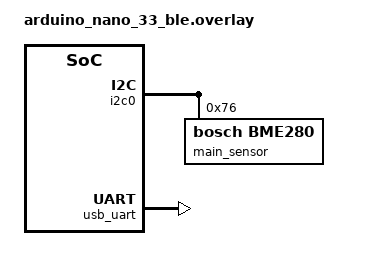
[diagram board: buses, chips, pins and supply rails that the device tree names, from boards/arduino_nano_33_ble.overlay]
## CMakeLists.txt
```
cmake_minimum_required(VERSION 3.20)
find_package(Zephyr REQUIRED HINTS $ENV{ZEPHYR_BASE})

project(app LANGUAGES C)

target_sources(app PRIVATE src/ble.c src/sensor.c src/timer.c)
```

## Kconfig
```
source "Kconfig.zephyr"

menu "Application Options"

module = APP
module-str = App
source "subsys/logging/Kconfig.template.log_config"

config APP_SENSOR_INTERVAL
	int "Environment Sensor Read Interval"
	default 5
	help
	  The interval between subsequent reads from the environment
	  sensor (in seconds).

config APP_TIMER_INIT_PRIORITY
	int "Timer init priority"
	default 100
	help
	  "Timer initialization priority"


menu "Sensor Thread Options"

config APP_SENSOR_STACK_SIZE
	int "Thread stack size"
	default 1024
	help
	  "Sensor thread stack size (in bytes)."

config APP_SENSOR_THREAD_PRIORITY
	int "Thread priority"
	default 8
	help
	  "Sensor thread priority."

endmenu # Sensor Thread Options

menu "Bluetooth Thread Options"

config APP_BLE_STACK_SIZE
	int "Thread stack size"
	default 2048
	help
	  "Bluetooth thread stack size (in bytes)."

config APP_BLE_THREAD_PRIORITY
	int "Thread priority"
	default 9
	help
	  "Bluetooth thread priority."

endmenu # Bluetooth Thread Options

endmenu # Application Options
```

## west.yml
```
manifest:
  remotes:
    - name: zephyrproject-rtos
      url-base: https://github.com/zephyrproject-rtos

  projects:
    - name: zephyr
      remote: zephyrproject-rtos
      revision: v4.3.0
      import:
        name-allowlist:
          - cmsis_6
          - hal_espressif
          - hal_nordic
          - mbedtls
```

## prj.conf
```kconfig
CONFIG_SERIAL=y
CONFIG_GPIO=y
CONFIG_LOG=y
CONFIG_CONSOLE=y
CONFIG_BT_DIS_MANUF_NAME_STR="MRos"
CONFIG_UART_CONSOLE=y
CONFIG_SENSOR=y
CONFIG_SENSOR_ASYNC_API=y
CONFIG_MBEDTLS=y
CONFIG_BT=y
CONFIG_BT_PERIPHERAL=y
CONFIG_BT_HCI_ERR_TO_STR=y
CONFIG_BT_SMP=y
CONFIG_BT_DIS=y
# CONFIG_BT_DIS_PNP is not set
CONFIG_BT_DEVICE_NAME="Zephyr Environment Sensor"
CONFIG_BT_DEVICE_APPEARANCE=1362
CONFIG_BT_LOG_LEVEL_WRN=y
CONFIG_LOG_INFO_COLOR_GREEN=y
CONFIG_LOG_DBG_COLOR_BLUE=y
CONFIG_ZBUS=y
CONFIG_ZBUS_MSG_SUBSCRIBER=y
CONFIG_STD_C23=y
CONFIG_COMPILER_WARNINGS_AS_ERRORS=y
```

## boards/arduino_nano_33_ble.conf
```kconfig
CONFIG_UART_LINE_CTRL=y
CONFIG_USB_DEVICE_STACK_NEXT=y
CONFIG_USBD_CDC_ACM_LOG_LEVEL_OFF=y
CONFIG_CDC_ACM_SERIAL_INITIALIZE_AT_BOOT=y
```

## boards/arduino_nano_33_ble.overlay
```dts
/ {
	chosen {
		zephyr,console = &usb_uart;
	};

	aliases {
		env-sensor = &main_sensor;
	};
};

&i2c0 {
	status = "okay";

	main_sensor: bme280@76 {
		compatible = "bosch,bme280";
		reg = <0x76>;
	};
};

&zephyr_udc0 {
	usb_uart: cdc_acm_uart0 {
		compatible = "zephyr,cdc-acm-uart";
		label = "Zephyr USB CDC-ACM";
		status = "okay";
	};
};

&i2c1 {
	status = "disabled";
};

&lsm9ds1 {
	status = "disabled";
};

&lsm9ds1_mag {
	status = "disabled";
};
```

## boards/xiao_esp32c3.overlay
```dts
/ {
	aliases {
		env-sensor = &main_sensor;
	};
};

&i2c0 {
	main_sensor: bme280@76 {
		compatible = "bosch,bme280";
		reg = <0x76>;
	};
};

&spi2 {
	status = "disabled";
};

&twai {
	status = "disabled";
};

&uart0 {
	status = "disabled";
};

&wifi {
	status = "disabled";
};
```

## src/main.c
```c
#include <zephyr/kernel.h>

int main(void)
{
	printk("Hello Zephyr\n");
	return 0;
}
```

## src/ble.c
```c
#include "zbus.h"

#include <stddef.h>
#include <stdint.h>
#include <stdio.h>
#include <stdlib.h>
#include <string.h>

#include <zephyr/bluetooth/addr.h>
#include <zephyr/bluetooth/bluetooth.h>
#include <zephyr/bluetooth/byteorder.h>
#include <zephyr/bluetooth/conn.h>
#include <zephyr/bluetooth/gap.h>
#include <zephyr/bluetooth/gatt.h>
#include <zephyr/bluetooth/hci.h>
#include <zephyr/bluetooth/uuid.h>
#include <zephyr/dsp/print_format.h>
#include <zephyr/kernel.h>
#include <zephyr/logging/log.h>
#include <zephyr/sys/byteorder.h>
#include <zephyr/sys/util.h>
#include <zephyr/toolchain.h>
#include <zephyr/zbus/zbus.h>

#include <sys/cdefs.h>
#include <sys/errno.h>
#include <sys/types.h>

LOG_MODULE_REGISTER(ble, CONFIG_APP_LOG_LEVEL);

typedef uint8_t uint24_t[3];

#define SENSOR_TEMP_NAME  "Temperature Sensor"
#define SENSOR_PRESS_NAME "Pressure Sensor"
#define SENSOR_HUMID_NAME "Humidity Sensor"

/* ESS Measurement Descriptor
 * https://www.bluetooth.com/specifications/specs/html/?src=ESS_v1.0.1/out/en/index-en.html#UUID-2407bbfc-b4c8-2b7c-7bda-feb4d3cbcfb5
 */
#define ES_MEASUREMENT_FLAGS_EMPTY            0x00
#define ES_MEASUREMENT_SAMPLING_INSTANTANEOUS 0x01
#define ES_MEASUREMENT_PERIOD_UNSPECIFIED     0x00
#define ES_MEASUREMENT_APP_AIR                0x01
#define ES_MEASUREMENT_UNCERTAINTY_UNKNOWN    0xFF

/* https://www.bluetooth.com/specifications/specs/html/?src=ESS_v1.0.1/out/en/index-en.html#UUID-2407bbfc-b4c8-2b7c-7bda-feb4d3cbcfb5_Table_3.3
 */
struct bt_es_measurement_desc {
	uint16_t flags;
	uint8_t sampling_func;
	uint24_t meas_period;
	uint24_t update_interval;
	uint8_t application;
	uint8_t meas_uncertainty;
} __packed;

/* ES Trigger Setting Descriptor
 * https://www.bluetooth.com/specifications/specs/html/?src=ESS_v1.0.1/out/en/index-en.html#UUID-0ad8b9f9-19ad-daf7-c103-6addaa3d4154
 */
#define ES_TRIGGER_INTERVAL_FIXED 0x01

struct bt_es_trigger_setting_desc {
	uint8_t cond;
	uint24_t fixed;
} __packed;

/* https://btprodspecificationrefs.blob.core.windows.net/gatt-specification-supplement/GATT_Specification_Supplement.pdf
 */
struct bt_es_sensor_data_char {
	// degrees Celsius with resolution of 0.01
	int16_t temp;
	// pascals with resolution of 0.1
	uint32_t press;
	// percent with resolution of 0.01
	uint16_t humid;
};

// https://btprodspecificationrefs.blob.core.windows.net/gatt-specification-supplement/GATT_Specification_Supplement.pdf#4.1.3
// -40 - +85 C
const static int16_t bt_es_sensor_temp_range[2] = {sys_cpu_to_le16(-4000), sys_cpu_to_le16(8500)};

// 300 - 1100 hPa
const static uint32_t bt_es_sensor_press_range[2] = {sys_cpu_to_le32(300000),
						     sys_cpu_to_le32(1100000)};

const static struct bt_es_measurement_desc sens_desc = {
	.flags = sys_cpu_to_le16(ES_MEASUREMENT_FLAGS_EMPTY),
	.sampling_func = ES_MEASUREMENT_SAMPLING_INSTANTANEOUS,
	.meas_period = {sys_cpu_to_le24(ES_MEASUREMENT_PERIOD_UNSPECIFIED)},
	.update_interval = {sys_cpu_to_le24(CONFIG_APP_SENSOR_INTERVAL)},
	.application = ES_MEASUREMENT_APP_AIR,
	.meas_uncertainty = ES_MEASUREMENT_UNCERTAINTY_UNKNOWN,
};

const static struct bt_es_trigger_setting_desc sens_trig = {
	.cond = ES_TRIGGER_INTERVAL_FIXED, .fixed = {sys_cpu_to_le24(CONFIG_APP_SENSOR_INTERVAL)}};

static K_MUTEX_DEFINE(env_data_mtx);
static struct bt_es_sensor_data_char env_data;

static ssize_t read_es_measurement(struct bt_conn *conn, const struct bt_gatt_attr *attr, void *buf,
				   uint16_t len, uint16_t offset)
{
	LOG_DBG("read ES Measurement");
	return bt_gatt_attr_read(conn, attr, buf, len, offset, &sens_desc, sizeof(sens_desc));
}

static size_t bt_es_trigger_setting_size(const struct bt_es_trigger_setting_desc *desc)
{
	return sizeof(desc->cond) + sizeof(desc->fixed);
}

static ssize_t read_es_trigger_setting(struct bt_conn *conn, const struct bt_gatt_attr *attr,
				       void *buf, uint16_t len, uint16_t offset)
{
	LOG_DBG("read ES Trigger Setting");
	return bt_gatt_attr_read(conn, attr, buf, len, offset, &sens_trig,
				 bt_es_trigger_setting_size(&sens_trig));
}

static ssize_t read_valid_range_temp(struct bt_conn *conn, const struct bt_gatt_attr *attr,
				     void *buf, uint16_t len, uint16_t offset)
{
	LOG_DBG("read temperature Valid Range");

	return bt_gatt_attr_read(conn, attr, buf, len, offset, &bt_es_sensor_temp_range,
				 sizeof(bt_es_sensor_temp_range));
}

static ssize_t read_valid_range_press(struct bt_conn *conn, const struct bt_gatt_attr *attr,
				      void *buf, uint16_t len, uint16_t offset)
{
	LOG_DBG("read pressure Valid Range");

	return bt_gatt_attr_read(conn, attr, buf, len, offset, &bt_es_sensor_press_range,
				 sizeof(bt_es_sensor_press_range));
}

static ssize_t read_value_temp(struct bt_conn *conn, const struct bt_gatt_attr *attr, void *buf,
			       uint16_t len, uint16_t offset)
{
	ssize_t ret;

	LOG_DBG("read temperature value");
	k_mutex_lock(&env_data_mtx, K_FOREVER);

	ret = bt_gatt_attr_read(conn, attr, buf, len, offset, &env_data.temp,
				sizeof(env_data.temp));

	k_mutex_unlock(&env_data_mtx);

	return ret;
}

static ssize_t read_value_press(struct bt_conn *conn, const struct bt_gatt_attr *attr, void *buf,
				uint16_t len, uint16_t offset)
{
	ssize_t ret;

	LOG_DBG("read pressure value");
	k_mutex_lock(&env_data_mtx, K_FOREVER);

	ret = bt_gatt_attr_read(conn, attr, buf, len, offset, &env_data.press,
				sizeof(env_data.press));

	k_mutex_unlock(&env_data_mtx);

	return ret;
}

static ssize_t read_value_humid(struct bt_conn *conn, const struct bt_gatt_attr *attr, void *buf,
				uint16_t len, uint16_t offset)
{
	ssize_t ret;

	LOG_DBG("read humidity value");
	k_mutex_lock(&env_data_mtx, K_FOREVER);

	ret = bt_gatt_attr_read(conn, attr, buf, len, offset, &env_data.humid,
				sizeof(env_data.humid));

	k_mutex_unlock(&env_data_mtx);

	return ret;
}

// clang-format off
BT_GATT_SERVICE_DEFINE(ess_svc,
	BT_GATT_PRIMARY_SERVICE(BT_UUID_ESS),

	// Temperature
	BT_GATT_CHARACTERISTIC(BT_UUID_TEMPERATURE,
						   BT_GATT_CHRC_READ | BT_GATT_CHRC_NOTIFY,
						   BT_GATT_PERM_READ,
						   read_value_temp, NULL, NULL),
	BT_GATT_DESCRIPTOR(BT_UUID_ES_MEASUREMENT, BT_GATT_PERM_READ,
					   read_es_measurement, NULL, NULL),
	BT_GATT_DESCRIPTOR(BT_UUID_ES_TRIGGER_SETTING, BT_GATT_PERM_READ,
					   read_es_trigger_setting, NULL, NULL),
	BT_GATT_CUD(SENSOR_TEMP_NAME, BT_GATT_PERM_READ),
	BT_GATT_DESCRIPTOR(BT_UUID_VALID_RANGE, BT_GATT_PERM_READ,
					   read_valid_range_temp, NULL, NULL),
	BT_GATT_CCC(NULL, BT_GATT_PERM_READ | BT_GATT_PERM_WRITE),

	// Pressure
	BT_GATT_CHARACTERISTIC(BT_UUID_PRESSURE,
						   BT_GATT_CHRC_READ | BT_GATT_CHRC_NOTIFY,
						   BT_GATT_PERM_READ,
						   read_value_press, NULL, NULL),
	BT_GATT_DESCRIPTOR(BT_UUID_ES_MEASUREMENT, BT_GATT_PERM_READ,
					   read_es_measurement, NULL, NULL),
	BT_GATT_DESCRIPTOR(BT_UUID_ES_TRIGGER_SETTING, BT_GATT_PERM_READ,
					   read_es_trigger_setting, NULL, NULL),
	BT_GATT_CUD(SENSOR_PRESS_NAME, BT_GATT_PERM_READ),
	BT_GATT_DESCRIPTOR(BT_UUID_VALID_RANGE, BT_GATT_PERM_READ,
					   read_valid_range_press, NULL, NULL),
	BT_GATT_CCC(NULL, BT_GATT_PERM_READ | BT_GATT_PERM_WRITE),

	// Humididy
	BT_GATT_CHARACTERISTIC(BT_UUID_HUMIDITY,
						   BT_GATT_CHRC_READ | BT_GATT_CHRC_NOTIFY,
						   BT_GATT_PERM_READ,
						   read_value_humid, NULL, NULL),
	BT_GATT_DESCRIPTOR(BT_UUID_ES_MEASUREMENT, BT_GATT_PERM_READ,
					   read_es_measurement, NULL, NULL),
	BT_GATT_DESCRIPTOR(BT_UUID_ES_TRIGGER_SETTING, BT_GATT_PERM_READ,
					   read_es_trigger_setting, NULL, NULL),
	BT_GATT_CUD(SENSOR_HUMID_NAME, BT_GATT_PERM_READ),
	BT_GATT_CCC(NULL, BT_GATT_PERM_READ | BT_GATT_PERM_WRITE),
);

static const struct bt_data ad[] = {
	BT_DATA_BYTES(BT_DATA_FLAGS, (BT_LE_AD_GENERAL | BT_LE_AD_NO_BREDR)),
	BT_DATA_BYTES(BT_DATA_GAP_APPEARANCE,
				  BT_BYTES_LIST_LE16(CONFIG_BT_DEVICE_APPEARANCE)),
	BT_DATA_BYTES(BT_DATA_UUID16_ALL,
				  BT_UUID_16_ENCODE(BT_UUID_ESS_VAL)),
};

static const struct bt_data sd[] = {
	BT_DATA(BT_DATA_NAME_COMPLETE,
			CONFIG_BT_DEVICE_NAME,
			sizeof(CONFIG_BT_DEVICE_NAME) - 1),
};
// clang-format on

static void connected(struct bt_conn *conn, uint8_t err)
{
	if (err) {
		LOG_ERR("connection failed (error: %d - %s)", err, bt_hci_err_to_str(err));
	} else {
		LOG_INF("connected");
	}
}

static void disconnected(struct bt_conn *conn, uint8_t reason)
{
	LOG_INF("disconnected - %s", bt_hci_err_to_str(reason));
}

static void recycled(void)
{
	int rc;
	LOG_DBG("connection recycled");

	rc = bt_le_adv_start(BT_LE_ADV_CONN_FAST_1, ad, ARRAY_SIZE(ad), sd, ARRAY_SIZE(sd));
	if (rc) {
		LOG_ERR("advertising failed to start (error: %d)", rc);
	}
}

BT_CONN_CB_DEFINE(conn_callbacks) = {
	.connected = connected,
	.disconnected = disconnected,
	.recycled = recycled,
};

static void env_data_update(const struct env_msg *msg)
{
	char buf[8];
	k_mutex_lock(&env_data_mtx, K_FOREVER);

	snprintf(buf, ARRAY_SIZE(buf), "%s%d%02d", PRIq_arg(msg->temp.value, 2, msg->temp.shift));
	env_data.temp = sys_cpu_to_le16(strtol(buf, NULL, 10));

	snprintf(buf, ARRAY_SIZE(buf), "%s%d%04d", PRIq_arg(msg->press.value, 4, msg->press.shift));
	env_data.press = sys_cpu_to_le32(strtoul(buf, NULL, 10));

	snprintf(buf, ARRAY_SIZE(buf), "%s%d%02d", PRIq_arg(msg->humid.value, 2, msg->humid.shift));
	env_data.humid = sys_cpu_to_le16(strtoul(buf, NULL, 10));

	k_mutex_unlock(&env_data_mtx);

	bt_gatt_notify(NULL, &ess_svc.attrs[2], &env_data.temp, sizeof(env_data.temp));
	bt_gatt_notify(NULL, &ess_svc.attrs[9], &env_data.press, sizeof(env_data.press));
	bt_gatt_notify(NULL, &ess_svc.attrs[16], &env_data.humid, sizeof(env_data.humid));
}

ZBUS_MSG_SUBSCRIBER_DEFINE(bluetooth_msg_subscriber);
ZBUS_CHAN_ADD_OBS(env_chan, bluetooth_msg_subscriber, 1);

static void bluetooth_thrd()
{
	const struct zbus_channel *chan;
	struct env_msg msg = {0};
	int rc;

	if ((rc = bt_enable(NULL))) {
		LOG_ERR("initialization failed (error: %d)", rc);
		return;
	}

	LOG_INF("initialized");

	rc = bt_le_adv_start(BT_LE_ADV_CONN_FAST_1, ad, ARRAY_SIZE(ad), sd, ARRAY_SIZE(sd));
	if (rc) {
		LOG_ERR("advertising failed to start (error: %d)", rc);
		return;
	}

	LOG_INF("advertising started");

	for (;;) {
		if ((rc = zbus_sub_wait_msg(&bluetooth_msg_subscriber, &chan, &msg, K_FOREVER))) {
			LOG_ERR("waiting for channel message failed (error: %d)", rc);
			continue;
		}

		env_data_update(&msg);
	}
}

K_THREAD_DEFINE(bluetooth_thrd_id, CONFIG_APP_BLE_STACK_SIZE, bluetooth_thrd, NULL, NULL, NULL,
		CONFIG_APP_BLE_THREAD_PRIORITY, 0, 0);
```

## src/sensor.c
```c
#include "zbus.h"

#include <stdint.h>

#include <zephyr/device.h>
#include <zephyr/devicetree.h>
#include <zephyr/drivers/sensor.h>
#include <zephyr/drivers/sensor_data_types.h>
#include <zephyr/dsp/print_format.h>
#include <zephyr/dsp/types.h>
#include <zephyr/kernel.h>
#include <zephyr/logging/log.h>
#include <zephyr/rtio/rtio.h>
#include <zephyr/sys/util.h>
#include <zephyr/zbus/zbus.h>

LOG_MODULE_REGISTER(sensor, CONFIG_APP_LOG_LEVEL);

#define SENSOR_DEV DT_ALIAS(env_sensor)

const static struct device *const dev = DEVICE_DT_GET(SENSOR_DEV);

#define SENS_CHAN(spec) ((struct sensor_chan_spec){spec})

#define SENS_CHAN_TEMP  SENS_CHAN(SENSOR_CHAN_AMBIENT_TEMP)
#define SENS_CHAN_HUMID SENS_CHAN(SENSOR_CHAN_HUMIDITY)
#define SENS_CHAN_PRESS SENS_CHAN(SENSOR_CHAN_PRESS)

/* clang-format off */
SENSOR_DT_READ_IODEV(iodev, SENSOR_DEV,
	SENS_CHAN_TEMP,
	SENS_CHAN_HUMID,
	SENS_CHAN_PRESS,
);
/* clang-format on */

RTIO_DEFINE(ctx, 1, 1);

ZBUS_SUBSCRIBER_DEFINE(env_subscriber, 1);
ZBUS_CHAN_ADD_OBS(timer_chan, env_subscriber, 0);

/* clang-format off */
ZBUS_CHAN_DEFINE(env_chan,	/* Name */
	 struct env_msg,		/* Message */
	 NULL,					/* Validator */
	 NULL,					/* User data */
	 ZBUS_OBSERVERS_EMPTY,	/* Observers */
	 ZBUS_MSG_INIT(0)		/* Initial value */
);
/* clang-format on */

static void sensor_thrd(void)
{
	const struct sensor_decoder_api *decoder;
	const struct zbus_channel *chan;
	struct sensor_q31_data data;
	struct env_msg msg;
	uint8_t buf[128];
	int rc, fit;

	if (!device_is_ready(dev)) {
		LOG_ERR("%s: device not ready", dev->name);
		return;
	}

	if ((rc = sensor_get_decoder(dev, &decoder))) {
		LOG_ERR("%s: failed to get decoder (error: %d)", dev->name, rc);
		return;
	}

	LOG_INF("%s: thread started", dev->name);

	for (;;) {
		if ((rc = zbus_sub_wait(&env_subscriber, &chan, K_FOREVER))) {
			LOG_ERR("%s: waiting for channel notification failed (error: %d)",
				dev->name, rc);
			continue;
		}

		LOG_DBG("%s: reading sensor", dev->name);
		if ((rc = sensor_read(&iodev, &ctx, buf, ARRAY_SIZE(buf)))) {
			LOG_ERR("%s: failed to read sensor data (error: %d)", dev->name, rc);
			continue;
		}

		fit = 0;
		decoder->decode(buf, SENS_CHAN_TEMP, &fit, 1, &data);
		msg.temp = (struct env_value){data.readings[0].temperature, data.shift};

		fit = 0;
		decoder->decode(buf, SENS_CHAN_HUMID, &fit, 1, &data);
		msg.humid = (struct env_value){data.readings[0].humidity, data.shift};

		fit = 0;
		decoder->decode(buf, SENS_CHAN_PRESS, &fit, 1, &data);
		msg.press = (struct env_value){data.readings[0].pressure, data.shift};

		LOG_DBG("%s: sensor reading: temp - %s%d.%04d°C, humid - %s%d.%02d%%, press - "
			"%s%d.%04dkPa",
			dev->name, PRIq_arg(msg.temp.value, 4, msg.temp.shift),
			PRIq_arg(msg.humid.value, 2, msg.humid.shift),
			PRIq_arg(msg.press.value, 4, msg.press.shift));

		if ((rc = zbus_chan_pub(&env_chan, &msg, K_NO_WAIT))) {
			LOG_ERR("%s: failed to publish sensor data to zbus (error: %d)", dev->name,
				rc);
			continue;
		}
	}
}

K_THREAD_DEFINE(sensor_thrd_id, CONFIG_APP_SENSOR_STACK_SIZE, sensor_thrd, NULL, NULL, NULL,
		CONFIG_APP_SENSOR_THREAD_PRIORITY, 0, 0);
```

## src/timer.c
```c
#include "zbus.h"

#include <zephyr/init.h>
#include <zephyr/logging/log.h>
#include <zephyr/zbus/zbus.h>

LOG_MODULE_REGISTER(timer, CONFIG_APP_LOG_LEVEL);

/* clang-format off */
ZBUS_CHAN_DEFINE(timer_chan,	/* Name */
	 void*,						/* Message type */
	 NULL,						/* Validator */
	 NULL,						/* User data */
	 ZBUS_OBSERVERS_EMPTY,		/* Observers */
	 ZBUS_MSG_INIT(NULL)		/* Initial value */
);
/* clang-format on */

static void timer_expiry(struct k_timer *timer)
{
	int rc;

	LOG_DBG("timer expired");

	if ((rc = zbus_chan_pub(&timer_chan, timer, K_NO_WAIT))) {
		LOG_ERR("failed to publish timer event to zbus (error: %d)", rc);
	}
}

K_TIMER_DEFINE(env_timer, timer_expiry, NULL);

static int timer_init()
{
	k_timer_start(&env_timer, K_SECONDS(3), K_SECONDS(CONFIG_APP_SENSOR_INTERVAL));
	LOG_INF("timer started");
	return 0;
}

SYS_INIT(timer_init, APPLICATION, CONFIG_APP_TIMER_INIT_PRIORITY);
```

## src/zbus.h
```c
#ifndef _ZBUS_H
#define _ZBUS_H

#include <stdint.h>

#include <zephyr/dsp/types.h>
#include <zephyr/zbus/zbus.h>

ZBUS_CHAN_DECLARE(env_chan);
ZBUS_CHAN_DECLARE(timer_chan);

struct env_value {
	q31_t value;
	int8_t shift;
};

struct env_msg {
	struct env_value temp;
	struct env_value humid;
	struct env_value press;
};

#endif /* _ZBUS_H */
```
